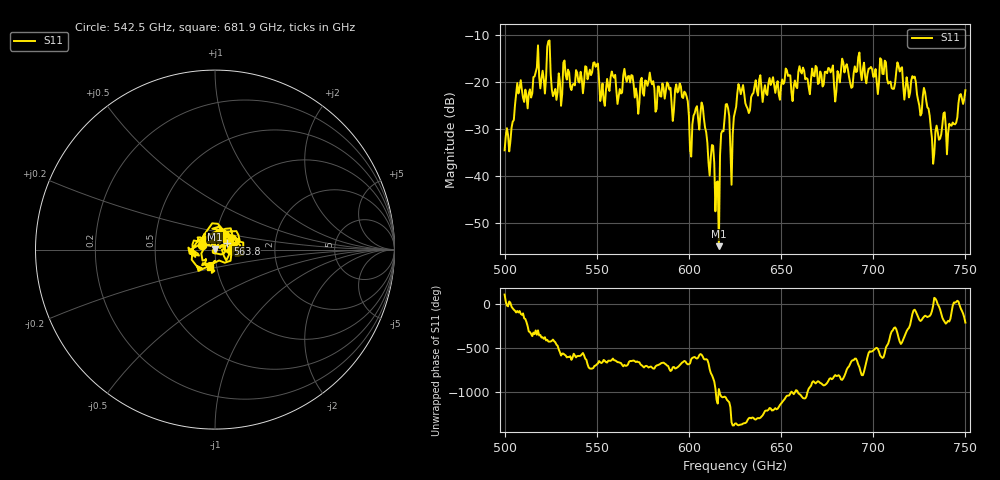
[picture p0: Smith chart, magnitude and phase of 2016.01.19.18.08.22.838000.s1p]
!Created with skrf (http://scikit-rf.org).
# GHz S RI R 50.0
!freq ReS11 ImS11
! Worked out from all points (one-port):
!   401 points, 500 GHz to 750 GHz, reference 50 ohm
!   lowest |S11| = -55.0 dB at 616.2 GHz (marker M1), VSWR 1.00, Z = 49.9 + j0.165 ohm
!   |S11| at or under -10 dB: start of sweep to end of sweep
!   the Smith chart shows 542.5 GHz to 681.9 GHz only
!   S11 on the Smith chart (normalised r, x): 542.5 GHz: 0.87, +0.04; 563.8 GHz: 1.15, +0.08; 681.9 GHz: 0.93, -0.18
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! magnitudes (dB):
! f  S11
! 500 GHz  -34.5
! 507.5 GHz  -22.4
! 513.8 GHz  -21.6
! 516.9 GHz  -17.9
! 531.2 GHz  -22.5
! 542.5 GHz  -22.4
! 549.4 GHz  -16.7
! 553.1 GHz  -20.3
! 562.5 GHz  -21.5
! 563.8 GHz  -22.3
! 593.8 GHz  -22.2
! 601.2 GHz  -35.9
! 607.5 GHz  -25.1
! 615 GHz  -41.4
! 616.2 GHz  -55.0
! 619.4 GHz  -27.6
! 623.1 GHz  -41.9
! 625 GHz  -26.4
! 628.1 GHz  -22.6
! 631.9 GHz  -25.7
! 656.2 GHz  -24.1
! 681.9 GHz  -20.1
! 687.5 GHz  -20.2
! 714.4 GHz  -17.7
! 718.8 GHz  -20.7
! 728.8 GHz  -24.0
! 732.5 GHz  -37.4
! 750 GHz  -21.8
